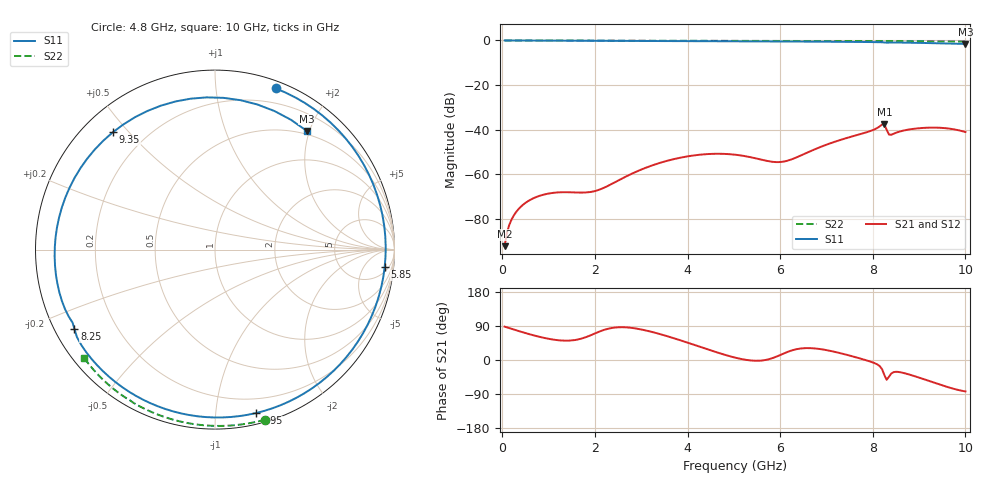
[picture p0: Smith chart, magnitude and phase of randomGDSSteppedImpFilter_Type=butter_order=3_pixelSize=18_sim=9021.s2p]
! freq	dB(S11)	phase(S11)	dB(S12)	phase(S12)
!  dB(S21)	phase(S21)	dB(S22)	phase(S22)
!S-par simulation data
#  GHz  S  DB  R 50
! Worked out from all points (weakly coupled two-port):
!   200 points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, 50 MHz to 10 GHz, reference 50 ohm
!   highest |S21| = -37.52 dB at 8.25 GHz (marker M1); lowest = -92.2 dB at 50 MHz (marker M2)
!   lowest |S11| = -1.6 dB at 10 GHz (marker M3), VSWR 11.19, Z = 22.3 + j97.9 ohm
!   |S11| at or under -10 dB: nowhere
!   |S22| runs from -0.5 to 0.0 dB; largest |S21 - S12| = 0
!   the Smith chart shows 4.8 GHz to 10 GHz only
!   S11 on the Smith chart (normalised r, x): 4.8 GHz: 0.06, +1.45; 5.85 GHz: 8, -16; 6.95 GHz: 0.08, -1.28; 8.25 GHz: 0.06, -0.26; 9.35 GHz: 0.09, +0.45; 10 GHz: 0.45, +1.96
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0.05  -0.00 -3.1  -92.15 88.1  -92.15 88.1  -0.00 -0.8
0.2  -0.02 -12.5  -80.21 82.3  -80.21 82.3  -0.01 -3.3
0.5  -0.04 -30.9  -72.76 71.1  -72.76 71.1  -0.01 -8.1
0.95  -0.07 -58.1  -68.78 57.1  -68.78 57.1  -0.02 -15.4
1.75  -0.13 -104.6  -68.14 58.0  -68.14 58.0  -0.04 -28.1
2.65  -0.18 -155.0  -61.17 86.3  -61.17 86.3  -0.05 -42.0
3.4  -0.23 161.7  -54.86 68.6  -54.86 68.6  -0.07 -53.3
4.2  -0.30 111.0  -51.33 37.7  -51.33 37.7  -0.09 -65.1
4.8  -0.36 69.3  -50.81 13.9  -50.81 13.9  -0.11 -73.6
5.05  -0.38 51.3  -51.23 5.6  -51.23 5.6  -0.12 -77.1
5.45  -0.41 22.4  -52.70 -1.9  -52.70 -1.9  -0.13 -82.6
5.85  -0.44 -5.9  -54.40 5.6  -54.40 5.6  -0.15 -88.0
6.25  -0.47 -32.8  -53.24 25.2  -53.24 25.2  -0.17 -93.3
6.7  -0.52 -61.1  -49.19 31.0  -49.19 31.0  -0.19 -99.2
6.95  -0.55 -76.0  -47.07 27.2  -47.07 27.2  -0.21 -102.4
7.6  -0.65 -113.0  -42.72 8.4  -42.72 8.4  -0.25 -110.7
8.25  -0.92 -150.6  -37.52 -39.7  -37.52 -39.7  -0.31 -118.9
8.35  -0.95 -155.4  -42.16 -44.2  -42.16 -44.2  -0.32 -120.1
8.9  -1.04 168.4  -39.54 -42.6  -39.54 -42.6  -0.36 -126.8
9.35  -1.24 131.0  -39.04 -60.9  -39.04 -60.9  -0.40 -132.4
9.7  -1.42 93.1  -39.63 -74.4  -39.63 -74.4  -0.44 -136.6
10  -1.56 52.3  -41.03 -83.0  -41.03 -83.0  -0.48 -140.3
